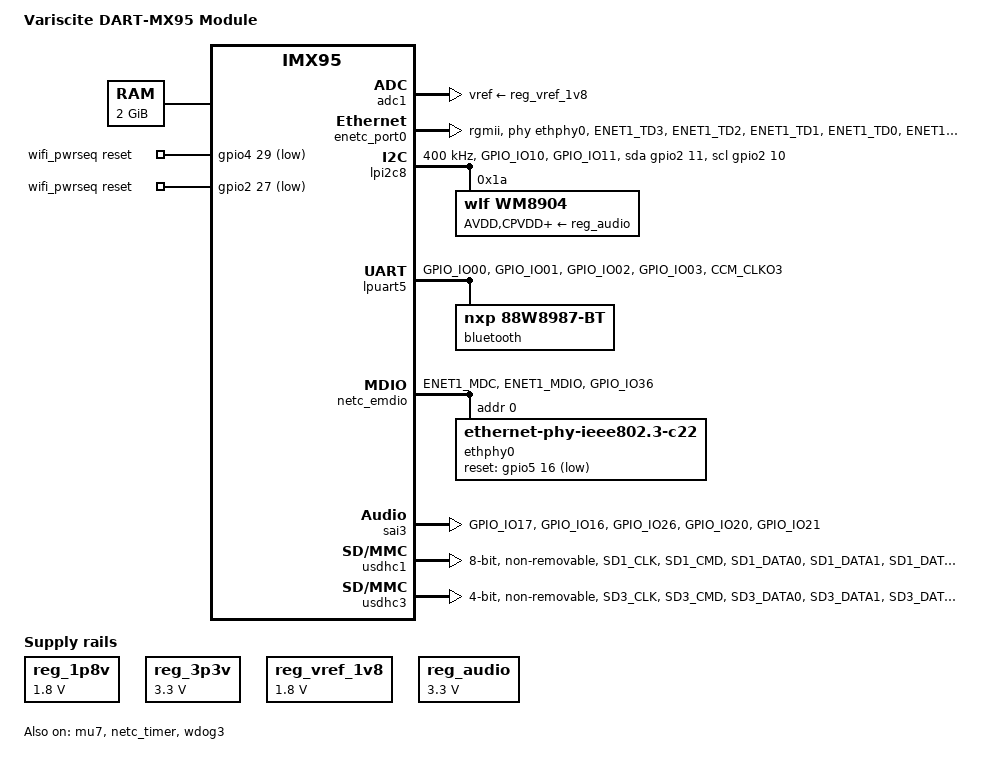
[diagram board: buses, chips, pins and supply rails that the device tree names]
// SPDX-License-Identifier: (GPL-2.0+ OR MIT)
/*
 * Common dtsi for Variscite DART-MX95
 *
 * Link: https://variscite.com/system-on-module-som/i-mx-9/i-mx-95/dart-mx95/
 *
 * Copyright (C) 2026 Variscite Ltd. - https://www.variscite.com/
 *
 */

/dts-v1/;

#include <dt-bindings/leds/common.h>
#include <dt-bindings/usb/pd.h>
#include "imx95.dtsi"

/ {
	model = "Variscite DART-MX95 Module";
	compatible = "variscite,var-dart-mx95", "fsl,imx95";

	memory@80000000 {
		device_type = "memory";
		reg = <0x0 0x80000000 0 0x80000000>;
	};

	reg_1p8v: regulator-1p8v {
		compatible = "regulator-fixed";
		regulator-max-microvolt = <1800000>;
		regulator-min-microvolt = <1800000>;
		regulator-name = "+V1.8_SW";
	};

	reg_3p3v: regulator-3p3v {
		compatible = "regulator-fixed";
		regulator-max-microvolt = <3300000>;
		regulator-min-microvolt = <3300000>;
		regulator-name = "+V3.3_SW";
	};

	reg_vref_1v8: regulator-adc-vref {
		compatible = "regulator-fixed";
		regulator-name = "vref_1v8";
		regulator-min-microvolt = <1800000>;
		regulator-max-microvolt = <1800000>;
	};

	reg_audio: regulator-audio-vdd {
		compatible = "regulator-fixed";
		regulator-name = "wm8904_supply";
		regulator-min-microvolt = <3300000>;
		regulator-max-microvolt = <3300000>;
	};

	reserved-memory {
		ranges;
		#address-cells = <2>;
		#size-cells = <2>;

		linux_cma: linux,cma {
			compatible = "shared-dma-pool";
			alloc-ranges = <0 0x80000000 0 0x7F000000>;
			reusable;
			size = <0 0x3c000000>;
			linux,cma-default;
		};
	};

	sound-wm8904 {
		compatible = "simple-audio-card";
		simple-audio-card,bitclock-master = <&codec_dai>;
		simple-audio-card,format = "i2s";
		simple-audio-card,frame-master = <&codec_dai>;
		simple-audio-card,mclk-fs = <256>;
		simple-audio-card,name = "wm8904-audio";
		simple-audio-card,routing =
			"Headphone Jack", "HPOUTL",
			"Headphone Jack", "HPOUTR",
			"IN2L", "Line In Jack",
			"IN2R", "Line In Jack",
			"IN1L", "Microphone Jack",
			"IN1R", "Microphone Jack";
		simple-audio-card,widgets =
			"Microphone", "Microphone Jack",
			"Headphone", "Headphone Jack",
			"Line", "Line In Jack";

		codec_dai: simple-audio-card,codec {
			sound-dai = <&wm8904>;
		};

		simple-audio-card,cpu {
			sound-dai = <&sai3>;
		};
	};

	wifi_pwrseq: wifi-pwrseq {
		compatible = "mmc-pwrseq-simple";
		post-power-on-delay-ms = <100>;
		power-off-delay-us = <10000>;
		reset-gpios = <&gpio4 29 GPIO_ACTIVE_LOW>, /* WIFI_RESET */
			      <&gpio2 27 GPIO_ACTIVE_LOW>; /* WIFI_PWR_EN */
	};
};

&adc1 {
	vref-supply = <&reg_vref_1v8>;
	status = "okay";
};

&enetc_port0 {
	pinctrl-names = "default";
	pinctrl-0 = <&pinctrl_enetc0>;
	phy-handle = <&ethphy0>;
	/*
	 * The required RGMII TX and RX 2ns delays are implemented directly
	 * in hardware via passive delay elements on the SOM PCB.
	 * No delay configuration is needed in software via PHY driver.
	 */
	phy-mode = "rgmii";
	status = "okay";
};

&lpi2c8 {
	clock-frequency = <400000>;
	pinctrl-names = "default","gpio","sleep";
	pinctrl-0 = <&pinctrl_lpi2c8>;
	pinctrl-1 = <&pinctrl_lpi2c8_gpio>;
	pinctrl-2 = <&pinctrl_lpi2c8_gpio>;
	scl-gpios = <&gpio2 10 (GPIO_ACTIVE_HIGH | GPIO_OPEN_DRAIN)>;
	sda-gpios = <&gpio2 11 (GPIO_ACTIVE_HIGH | GPIO_OPEN_DRAIN)>;
	status = "okay";

	wm8904: audio-codec@1a {
		compatible = "wlf,wm8904";
		reg = <0x1a>;
		#sound-dai-cells = <0>;
		clocks = <&scmi_clk IMX95_CLK_SAI3>;
		clock-names = "mclk";
		AVDD-supply = <&reg_audio>;
		CPVDD-supply = <&reg_audio>;
		DBVDD-supply = <&reg_audio>;
		DCVDD-supply = <&reg_audio>;
		MICVDD-supply = <&reg_audio>;
		wlf,drc-cfg-names = "default", "peaklimiter", "tradition",
				    "soft", "music";
		/*
		 * Config registers per name, respectively:
		 * KNEE_IP = 0,   KNEE_OP = 0,     HI_COMP = 1,   LO_COMP = 1
		 * KNEE_IP = -24, KNEE_OP = -6,    HI_COMP = 1/4, LO_COMP = 1
		 * KNEE_IP = -42, KNEE_OP = -3,    HI_COMP = 0,   LO_COMP = 1
		 * KNEE_IP = -45, KNEE_OP = -9,    HI_COMP = 1/8, LO_COMP = 1
		 * KNEE_IP = -30, KNEE_OP = -10.5, HI_COMP = 1/4, LO_COMP = 1
		 */
		wlf,drc-cfg-regs = /bits/ 16 <0x01af 0x3248 0x0000 0x0000>,
				   /bits/ 16 <0x04af 0x324b 0x0010 0x0408>,
				   /bits/ 16 <0x04af 0x324b 0x0028 0x0704>,
				   /bits/ 16 <0x04af 0x324b 0x0018 0x078c>,
				   /bits/ 16 <0x04af 0x324b 0x0010 0x050e>;
		/* GPIO1 = DMIC_CLK, don't touch others */
		wlf,gpio-cfg = <0x0018>, <0xffff>, <0xffff>, <0xffff>;
	};
};

/* BT */
&lpuart5 {
	pinctrl-names = "default";
	pinctrl-0 = <&pinctrl_uart5>, <&pinctrl_bt>;
	status = "okay";

	bluetooth {
		compatible = "nxp,88w8987-bt";
	};
};

&mu7 {
	status = "okay";
};

&netc_emdio {
	pinctrl-names = "default";
	pinctrl-0 = <&pinctrl_emdio>, <&pinctrl_phy0res>;
	status = "okay";

	ethphy0: ethernet-phy@0 {
		compatible = "ethernet-phy-ieee802.3-c22";
		reg = <0>;
		reset-gpios = <&gpio5 16 GPIO_ACTIVE_LOW>;
		reset-assert-us = <10000>;
		reset-deassert-us = <100000>;

		leds {
			#address-cells = <1>;
			#size-cells = <0>;

			led@0 {
				reg = <0>;
				color = <LED_COLOR_ID_YELLOW>;
				function = LED_FUNCTION_LAN;
				linux,default-trigger = "netdev";
			};

			led@1 {
				reg = <1>;
				color = <LED_COLOR_ID_GREEN>;
				function = LED_FUNCTION_LAN;
				linux,default-trigger = "netdev";
			};
		};
	};
};

&netc_timer {
	status = "okay";
};

&sai3 {
	pinctrl-names = "default";
	pinctrl-0 = <&pinctrl_sai3>;
	assigned-clocks = <&scmi_clk IMX95_CLK_AUDIOPLL1_VCO>,
			  <&scmi_clk IMX95_CLK_AUDIOPLL2_VCO>,
			  <&scmi_clk IMX95_CLK_AUDIOPLL1>,
			  <&scmi_clk IMX95_CLK_AUDIOPLL2>,
			  <&scmi_clk IMX95_CLK_SAI3>;
	assigned-clock-parents = <0>, <0>, <0>, <0>,
				 <&scmi_clk IMX95_CLK_AUDIOPLL1>;
	assigned-clock-rates = <3932160000>,
			       <3612672000>, <393216000>,
			       <361267200>, <12288000>;
	#sound-dai-cells = <0>;
	fsl,sai-mclk-direction-output;
	status = "okay";
};

/* eMMC */
&usdhc1 {
	pinctrl-names = "default","state_100mhz","state_200mhz","sleep";
	pinctrl-0 = <&pinctrl_usdhc1>;
	pinctrl-1 = <&pinctrl_usdhc1_100mhz>;
	pinctrl-2 = <&pinctrl_usdhc1_200mhz>;
	pinctrl-3 = <&pinctrl_usdhc1>;
	bus-width = <8>;
	non-removable;
	no-sdio;
	no-sd;
	status = "okay";
};

/* WiFi */
&usdhc3 {
	pinctrl-names = "default","state_100mhz","state_200mhz","sleep";
	pinctrl-0 = <&pinctrl_usdhc3>, <&pinctrl_usdhc3_gpio>;
	pinctrl-1 = <&pinctrl_usdhc3_100mhz>, <&pinctrl_usdhc3_gpio>;
	pinctrl-2 = <&pinctrl_usdhc3_200mhz>, <&pinctrl_usdhc3_gpio>;
	pinctrl-3 = <&pinctrl_usdhc3>, <&pinctrl_usdhc3_gpio>;
	mmc-pwrseq = <&wifi_pwrseq>;
	bus-width = <4>;
	non-removable;
	wakeup-source;
	keep-power-in-suspend;
	status = "okay";
};

&wdog3 {
	fsl,ext-reset-output;
	status = "okay";
};

&scmi_iomuxc {
	pinctrl_bt: btgrp {
		fsl,pins = <
			IMX95_PAD_CCM_CLKO3__GPIO4_IO_BIT28				0x31e
		>;
	};

	pinctrl_emdio: emdiogrp {
		fsl,pins = <
			IMX95_PAD_ENET1_MDC__NETCMIX_TOP_NETC_MDC			0x57e
			IMX95_PAD_ENET1_MDIO__NETCMIX_TOP_NETC_MDIO			0x97e
		>;
	};

	pinctrl_enetc0: enetc0grp {
		fsl,pins = <
			IMX95_PAD_ENET1_TD3__NETCMIX_TOP_ETH0_RGMII_TD3			0x57e
			IMX95_PAD_ENET1_TD2__NETCMIX_TOP_ETH0_RGMII_TD2			0x57e
			IMX95_PAD_ENET1_TD1__NETCMIX_TOP_ETH0_RGMII_TD1			0x57e
			IMX95_PAD_ENET1_TD0__NETCMIX_TOP_ETH0_RGMII_TD0			0x57e
			IMX95_PAD_ENET1_TX_CTL__NETCMIX_TOP_ETH0_RGMII_TX_CTL		0x57e
			IMX95_PAD_ENET1_TXC__NETCMIX_TOP_ETH0_RGMII_TX_CLK		0x58e
			IMX95_PAD_ENET1_RX_CTL__NETCMIX_TOP_ETH0_RGMII_RX_CTL		0x57e
			IMX95_PAD_ENET1_RXC__NETCMIX_TOP_ETH0_RGMII_RX_CLK		0x58e
			IMX95_PAD_ENET1_RD0__NETCMIX_TOP_ETH0_RGMII_RD0			0x57e
			IMX95_PAD_ENET1_RD1__NETCMIX_TOP_ETH0_RGMII_RD1			0x57e
			IMX95_PAD_ENET1_RD2__NETCMIX_TOP_ETH0_RGMII_RD2			0x57e
			IMX95_PAD_ENET1_RD3__NETCMIX_TOP_ETH0_RGMII_RD3			0x57e
		>;
	};

	pinctrl_lpi2c8: lpi2c8grp {
		fsl,pins = <
			IMX95_PAD_GPIO_IO10__LPI2C8_SDA					0x40000b9e
			IMX95_PAD_GPIO_IO11__LPI2C8_SCL					0x40000b9e
		>;
	};

	pinctrl_lpi2c8_gpio: lpi2c8gpiogrp {
		fsl,pins = <
			IMX95_PAD_GPIO_IO10__GPIO2_IO_BIT10				0x31e
			IMX95_PAD_GPIO_IO11__GPIO2_IO_BIT11				0x31e
		>;
	};

	pinctrl_phy0res: phy0resgrp {
		fsl,pins = <
			IMX95_PAD_GPIO_IO36__GPIO5_IO_BIT16				0x31e
		>;
	};

	pinctrl_sai3: sai3grp {
		fsl,pins = <
			IMX95_PAD_GPIO_IO17__SAI3_MCLK					0x31e
			IMX95_PAD_GPIO_IO16__SAI3_TX_BCLK				0x31e
			IMX95_PAD_GPIO_IO26__SAI3_TX_SYNC				0x31e
			IMX95_PAD_GPIO_IO20__SAI3_RX_DATA_BIT0				0x31e
			IMX95_PAD_GPIO_IO21__SAI3_TX_DATA_BIT0				0x31e
		>;
	};

	pinctrl_uart5: uart5grp {
		fsl,pins = <
			IMX95_PAD_GPIO_IO00__LPUART5_TX					0x31e
			IMX95_PAD_GPIO_IO01__LPUART5_RX					0x31e
			IMX95_PAD_GPIO_IO02__LPUART5_CTS_B				0x31e
			IMX95_PAD_GPIO_IO03__LPUART5_RTS_B				0x31e
		>;
	};

	pinctrl_usdhc1: usdhc1grp {
		fsl,pins = <
			IMX95_PAD_SD1_CLK__USDHC1_CLK					0x158e
			IMX95_PAD_SD1_CMD__USDHC1_CMD					0x138e
			IMX95_PAD_SD1_DATA0__USDHC1_DATA0				0x138e
			IMX95_PAD_SD1_DATA1__USDHC1_DATA1				0x138e
			IMX95_PAD_SD1_DATA2__USDHC1_DATA2				0x138e
			IMX95_PAD_SD1_DATA3__USDHC1_DATA3				0x138e
			IMX95_PAD_SD1_DATA4__USDHC1_DATA4				0x138e
			IMX95_PAD_SD1_DATA5__USDHC1_DATA5				0x138e
			IMX95_PAD_SD1_DATA6__USDHC1_DATA6				0x138e
			IMX95_PAD_SD1_DATA7__USDHC1_DATA7				0x138e
			IMX95_PAD_SD1_STROBE__USDHC1_STROBE				0x158e
		>;
	};

	pinctrl_usdhc1_100mhz: usdhc1-100mhzgrp {
		fsl,pins = <
			IMX95_PAD_SD1_CLK__USDHC1_CLK					0x158e
			IMX95_PAD_SD1_CMD__USDHC1_CMD					0x138e
			IMX95_PAD_SD1_DATA0__USDHC1_DATA0				0x138e
			IMX95_PAD_SD1_DATA1__USDHC1_DATA1				0x138e
			IMX95_PAD_SD1_DATA2__USDHC1_DATA2				0x138e
			IMX95_PAD_SD1_DATA3__USDHC1_DATA3				0x138e
			IMX95_PAD_SD1_DATA4__USDHC1_DATA4				0x138e
			IMX95_PAD_SD1_DATA5__USDHC1_DATA5				0x138e
			IMX95_PAD_SD1_DATA6__USDHC1_DATA6				0x138e
			IMX95_PAD_SD1_DATA7__USDHC1_DATA7				0x138e
			IMX95_PAD_SD1_STROBE__USDHC1_STROBE				0x158e
		>;
	};

	pinctrl_usdhc1_200mhz: usdhc1-200mhzgrp {
		fsl,pins = <
			IMX95_PAD_SD1_CLK__USDHC1_CLK					0x15fe
			IMX95_PAD_SD1_CMD__USDHC1_CMD					0x13fe
			IMX95_PAD_SD1_DATA0__USDHC1_DATA0				0x13fe
			IMX95_PAD_SD1_DATA1__USDHC1_DATA1				0x13fe
			IMX95_PAD_SD1_DATA2__USDHC1_DATA2				0x13fe
			IMX95_PAD_SD1_DATA3__USDHC1_DATA3				0x13fe
			IMX95_PAD_SD1_DATA4__USDHC1_DATA4				0x13fe
			IMX95_PAD_SD1_DATA5__USDHC1_DATA5				0x13fe
			IMX95_PAD_SD1_DATA6__USDHC1_DATA6				0x13fe
			IMX95_PAD_SD1_DATA7__USDHC1_DATA7				0x13fe
			IMX95_PAD_SD1_STROBE__USDHC1_STROBE				0x15fe
		>;
	};

	pinctrl_usdhc3_gpio: usdhc3gpiogrp {
		fsl,pins = <
			IMX95_PAD_GPIO_IO27__GPIO2_IO_BIT27				0x31e
			IMX95_PAD_CCM_CLKO4__GPIO4_IO_BIT29				0x31e
		>;
	};

	pinctrl_usdhc3: usdhc3grp {
		fsl,pins = <
			IMX95_PAD_SD3_CLK__USDHC3_CLK					0x158e
			IMX95_PAD_SD3_CMD__USDHC3_CMD					0x138e
			IMX95_PAD_SD3_DATA0__USDHC3_DATA0				0x138e
			IMX95_PAD_SD3_DATA1__USDHC3_DATA1				0x138e
			IMX95_PAD_SD3_DATA2__USDHC3_DATA2				0x138e
			IMX95_PAD_SD3_DATA3__USDHC3_DATA3				0x138e
		>;
	};

	pinctrl_usdhc3_100mhz: usdhc3-100mhzgrp {
		fsl,pins = <
			IMX95_PAD_SD3_CLK__USDHC3_CLK					0x158e
			IMX95_PAD_SD3_CMD__USDHC3_CMD					0x138e
			IMX95_PAD_SD3_DATA0__USDHC3_DATA0				0x138e
			IMX95_PAD_SD3_DATA1__USDHC3_DATA1				0x138e
			IMX95_PAD_SD3_DATA2__USDHC3_DATA2				0x138e
			IMX95_PAD_SD3_DATA3__USDHC3_DATA3				0x138e
		>;
	};

	pinctrl_usdhc3_200mhz: usdhc3-200mhzgrp {
		fsl,pins = <
			IMX95_PAD_SD3_CLK__USDHC3_CLK					0x15fe
			IMX95_PAD_SD3_CMD__USDHC3_CMD					0x13fe
			IMX95_PAD_SD3_DATA0__USDHC3_DATA0				0x13fe
			IMX95_PAD_SD3_DATA1__USDHC3_DATA1				0x13fe
			IMX95_PAD_SD3_DATA2__USDHC3_DATA2				0x13fe
			IMX95_PAD_SD3_DATA3__USDHC3_DATA3				0x13fe
		>;
	};
};
